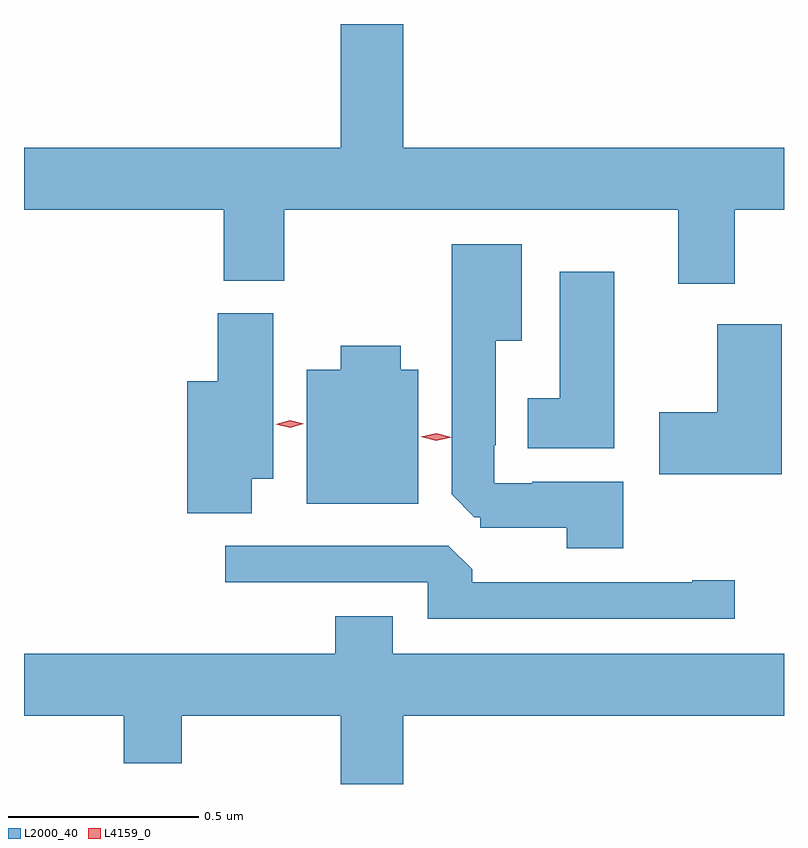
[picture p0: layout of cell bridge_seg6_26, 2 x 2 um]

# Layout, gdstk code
import gdstk
lib = gdstk.Library(unit=1e-6, precision=1e-09)
def P(c, l, *ps):  # polygons
    for p in ps: c.add(gdstk.Polygon(p, *l))
L2000_40 = (2000, 40)
L4159_0 = (4159, 0)

bridge_seg6_26 = lib.new_cell('bridge_seg6_26')
P(bridge_seg6_26, L2000_40, [(933.276,951.332),(933.406,951.332),(933.406,951.496),(932.404,951.496),(932.404,951.821),(932.24,951.821),(932.24,951.496),(931.406,951.496),(931.406,951.332),(931.931,951.332),(931.931,951.145),(932.091,951.145),(932.091,951.332),(933.128,951.332),(933.128,951.138),(933.276,951.138)],
  [(932.983,950.617),(932.743,950.617),(932.743,950.613),(932.643,950.613),(932.643,950.713),(932.647,950.713),(932.647,950.987),(932.716,950.987),(932.716,951.241),(932.531,951.241),(932.531,950.583),(932.591,950.523),(932.607,950.523),(932.607,950.496),(932.834,950.496),(932.834,950.441),(932.983,950.441)],
  [(932.959,951.169),(932.816,951.169),(932.816,950.836),(932.732,950.836),(932.732,950.705),(932.959,950.705)],
  [(932.005,950.624),(932.062,950.624),(932.062,951.06),(931.916,951.06),(931.916,950.881),(931.835,950.881),(931.835,950.533),(932.005,950.533)],
  [(933.4,951.031),(933.23,951.031),(933.23,950.799),(933.078,950.799),(933.078,950.636),(933.4,950.636)],
  [(932.443,950.911),(932.398,950.911),(932.398,950.974),(932.24,950.974),(932.24,950.911),(932.15,950.911),(932.15,950.558),(932.443,950.558)],
  [(933.277,950.357),(933.164,950.357),(933.164,950.352),(932.585,950.352),(932.585,950.386),(932.523,950.448),(931.935,950.448),(931.935,950.352),(932.469,950.352),(932.469,950.256),(933.277,950.256)],
  [(932.404,950),(933.406,950),(933.406,950.164),(932.377,950.164),(932.377,950.263),(932.225,950.263),(932.225,950.164),(931.406,950.164),(931.406,950),(931.669,950),(931.669,949.876),(931.821,949.876),(931.821,950),(932.24,950),(932.24,949.821),(932.404,949.821)])
P(bridge_seg6_26, L4159_0, [(932.106,950.758),(932.069,950.768),(932.069,950.768),(932.069,950.768),(932.105,950.778),(932.142,950.769),(932.142,950.769),(932.142,950.769)],
  [(932.491,950.724),(932.45,950.735),(932.45,950.735),(932.45,950.735),(932.491,950.744),(932.532,950.734),(932.532,950.734),(932.532,950.734)])

lib.write_gds('bridge_seg6_26.gds')
